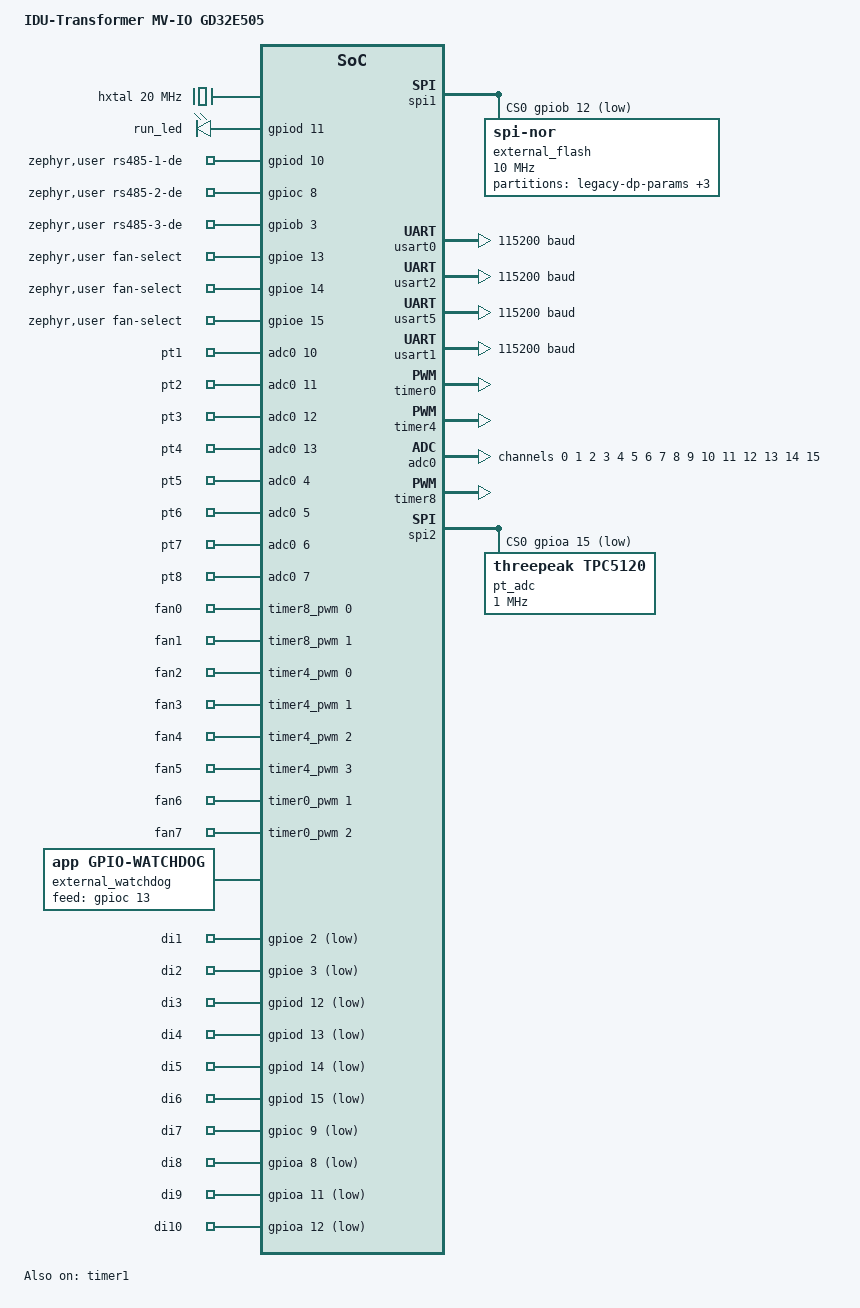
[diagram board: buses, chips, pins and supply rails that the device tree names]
#include <zephyr/dt-bindings/dma/gd32_dma.h>
/dts-v1/;

#include <mem.h>
#include <arm/gd/gd32e505.dtsi>
#include <zephyr/dt-bindings/gpio/gpio.h>
#include <zephyr/dt-bindings/adc/adc.h>
#include <zephyr/dt-bindings/pwm/pwm.h>
#include <dt-bindings/pwm/gd32e505-pwm.h>
#include <dt-bindings/pinctrl/gd32e505v(e-c)xx-pinctrl.h>

/ {
    model = "IDU-Transformer MV-IO GD32E505";
    compatible = "idu,transformer";

    hxtal: hxtal-clock {
        compatible = "fixed-clock";
        #clock-cells = <0>;
        clock-frequency = <20000000>; /* 有源振荡器接入 OSC_IN，必须启用旁路。 */
    };

    pll: pll {
        compatible = "gd,gd32e505-pll";
        #clock-cells = <0>;
        clocks = <&hxtal>;
        hxtal-bypass;
        prediv = <5>;
        mul = <45>;
        apb1-prescaler = <2>;
        apb2-prescaler = <1>;
    };

    chosen {
        zephyr,sram = &sram0;
        zephyr,flash = &flash0;
        zephyr,flash-controller = &fmc;
        zephyr,console = &usart0;
        zephyr,shell-uart = &usart0;
        zephyr,code-partition = &slot0_partition;
        iap,staging = &iap_staging;
        iap,journal = &iap_journal;
    };

    aliases {
        dp-params = &dp_params;
        led0 = &run_led;
        rs485-1 = &usart2;
        rs485-2 = &usart5;
        rs485-3 = &usart1;
        di1 = &di1;
        di2 = &di2;
        di3 = &di3;
        di4 = &di4;
        di5 = &di5;
        di6 = &di6;
        di7 = &di7;
        di8 = &di8;
        di9 = &di9;
        di10 = &di10;
    };

    leds {
        compatible = "gpio-leds";
        run_led: run-led {};
    };

    zephyr,user {
        rs485-1-de-gpios = <&gpiod 10 GPIO_ACTIVE_HIGH>;
        rs485-2-de-gpios = <&gpioc 8 GPIO_ACTIVE_HIGH>;
        rs485-3-de-gpios = <&gpiob 3 GPIO_ACTIVE_HIGH>;
        /* 风扇反馈选择线 A/B/C，逻辑位顺序为低位到高位。 */
        fan-select-gpios = <&gpioe 13 GPIO_ACTIVE_HIGH>, <&gpioe 14 GPIO_ACTIVE_HIGH>,
                           <&gpioe 15 GPIO_ACTIVE_HIGH>;
        io-channels = <&adc0 10>, <&adc0 11>, <&adc0 12>, <&adc0 13>,
                      <&adc0 4>, <&adc0 5>, <&adc0 6>, <&adc0 7>,
                      <&adc0 14>, <&adc0 15>, <&adc0 8>, <&adc0 9>,
                      <&pt_adc 0>, <&pt_adc 1>, <&pt_adc 2>, <&pt_adc 3>,
                      <&pt_adc 4>, <&pt_adc 5>, <&pt_adc 6>, <&pt_adc 7>;
        io-channel-names = "pt1", "pt2", "pt3", "pt4", "pt5", "pt6", "pt7", "pt8",
                           "pt9", "pt10", "pt11", "pt12", "pt13", "pt14", "pt15", "pt16",
                           "pt17", "pt18", "pt19", "pt20";
        pwms = <&timer8_pwm 0 PWM_HZ(10000) PWM_POLARITY_NORMAL>,
               <&timer8_pwm 1 PWM_HZ(10000) PWM_POLARITY_NORMAL>,
               <&timer4_pwm 0 PWM_HZ(10000) PWM_POLARITY_NORMAL>,
               <&timer4_pwm 1 PWM_HZ(10000) PWM_POLARITY_NORMAL>,
               <&timer4_pwm 2 PWM_HZ(10000) PWM_POLARITY_NORMAL>,
               <&timer4_pwm 3 PWM_HZ(10000) PWM_POLARITY_NORMAL>,
               <&timer0_pwm 1 PWM_HZ(10000) PWM_POLARITY_NORMAL>,
               <&timer0_pwm 2 PWM_HZ(10000) GD32_PWM_COMPLEMENTARY>,
               <&fan_capture 3 0 PWM_POLARITY_NORMAL>;
        pwm-names = "fan0", "fan1", "fan2", "fan3", "fan4", "fan5", "fan6", "fan7", "fan-feedback";

    };

};

&spi1 {
    status = "okay";
    external_flash: flash@0 {
        compatible = "jedec,spi-nor";
        reg = <0>;
        spi-max-frequency = <10000000>;
        spi-cpol;
        spi-cpha;
        size = <DT_SIZE_M(8)>; /* GD25Q64：64 Mbit / 8 MiB。 */
        partitions {
            compatible = "fixed-partitions";
            #address-cells = <1>;
            #size-cells = <1>;
            legacy_params: partition@10000 {
                label = "legacy-dp-params";
                reg = <0x10000 0x4000>;
                read-only;
            };
            /* IAPv3 结果日志；偏移与既有设备保持一致，不参与参数清空。 */
            iap_journal: partition@18000 {
                label = "idu-iap-journal";
                reg = <0x18000 0x4000>;
            };
            /* SGZ 暂存上限与 CONFIG_IAP_MAX_CONTAINER_SIZE 成对维护。 */
            dp_params: partition@1c000 {
                label = "dp-params";
                reg = <0x1c000 0x10000>;
            };
            iap_staging: partition@201000 {
                label = "idu-iap-sgz";
                reg = <0x201000 0x80000>;
            };
        };
    };
};

&flash0 {
    /* 分区地址单元由 partitions 节点定义，Flash 本身无直接寻址子节点。 */
    /delete-property/ #address-cells;
    /delete-property/ #size-cells;
    reg = <0x08000000 DT_SIZE_K(512)>;
    write-block-size = <4>; /* E505 FMC 支持按字编程。 */
    erase-block-size = <8192>; /* 参见 GD32E50x 用户手册第 2.3.1 节。 */
};
&sram0 { reg = <0x20000000 DT_SIZE_K(128)>; };
&gpioa { status = "okay"; };
&gpiob { status = "okay"; };
&gpioc { status = "okay"; };
&gpiod { status = "okay"; };
&gpioe { status = "okay"; };
&usart0 {
    status = "okay";
    current-speed = <115200>;
};
&dma0 {
    status = "okay";
};

&usart2 {
    dmas = <&dma0 1 GD32_DMA_PRIORITY_HIGH>,
           <&dma0 2 GD32_DMA_PRIORITY_HIGH>;
    dma-names = "tx", "rx";
    status = "okay";
    current-speed = <115200>;
};

&dma1 {
    status = "okay";
};

&usart5 {
    dmas = <&dma1 4 GD32_DMA_PRIORITY_HIGH>,
           <&dma1 2 GD32_DMA_PRIORITY_HIGH>;
    dma-names = "tx", "rx";
    status = "okay";
    current-speed = <115200>;
};

&usart1 {
    dmas = <&dma0 6 GD32_DMA_PRIORITY_HIGH>,
           <&dma0 5 GD32_DMA_PRIORITY_HIGH>;
    dma-names = "tx", "rx";
    status = "okay";
    current-speed = <115200>;
};

/* 原 PWM/捕获引脚在本板改作 ADC 和 DO。 */
&timer0 { status = "disabled"; };
&timer1 { status = "disabled"; };
&timer2 { status = "disabled"; };
&timer4 { status = "disabled"; };

&adc0 {
    status = "okay";
    clock-prescaler = <8>;
    vdda-millivolts = <3300>;
    pinctrl-0 = <&adc_default>;
    pinctrl-names = "default";
    channel@0 {
        reg = <0>;
        zephyr,gain = "ADC_GAIN_1";
        zephyr,reference = "ADC_REF_VDD_1";
        zephyr,acquisition-time = <ADC_ACQ_TIME_DEFAULT>;
        zephyr,resolution = <12>;
    };
    channel@1 {
        reg = <1>;
        zephyr,gain = "ADC_GAIN_1";
        zephyr,reference = "ADC_REF_VDD_1";
        zephyr,acquisition-time = <ADC_ACQ_TIME_DEFAULT>;
        zephyr,resolution = <12>;
    };
    channel@2 {
        reg = <2>;
        zephyr,gain = "ADC_GAIN_1";
        zephyr,reference = "ADC_REF_VDD_1";
        zephyr,acquisition-time = <ADC_ACQ_TIME_DEFAULT>;
        zephyr,resolution = <12>;
    };
    channel@3 {
        reg = <3>;
        zephyr,gain = "ADC_GAIN_1";
        zephyr,reference = "ADC_REF_VDD_1";
        zephyr,acquisition-time = <ADC_ACQ_TIME_DEFAULT>;
        zephyr,resolution = <12>;
    };
    channel@4 {
        reg = <4>;
        zephyr,gain = "ADC_GAIN_1";
        zephyr,reference = "ADC_REF_VDD_1";
        zephyr,acquisition-time = <ADC_ACQ_TIME_DEFAULT>;
        zephyr,resolution = <12>;
    };
    channel@5 {
        reg = <5>;
        zephyr,gain = "ADC_GAIN_1";
        zephyr,reference = "ADC_REF_VDD_1";
        zephyr,acquisition-time = <ADC_ACQ_TIME_DEFAULT>;
        zephyr,resolution = <12>;
    };
    channel@6 {
        reg = <6>;
        zephyr,gain = "ADC_GAIN_1";
        zephyr,reference = "ADC_REF_VDD_1";
        zephyr,acquisition-time = <ADC_ACQ_TIME_DEFAULT>;
        zephyr,resolution = <12>;
    };
    channel@7 {
        reg = <7>;
        zephyr,gain = "ADC_GAIN_1";
        zephyr,reference = "ADC_REF_VDD_1";
        zephyr,acquisition-time = <ADC_ACQ_TIME_DEFAULT>;
        zephyr,resolution = <12>;
    };
    channel@8 {
        reg = <8>;
        zephyr,gain = "ADC_GAIN_1";
        zephyr,reference = "ADC_REF_VDD_1";
        zephyr,acquisition-time = <ADC_ACQ_TIME_DEFAULT>;
        zephyr,resolution = <12>;
    };
    channel@9 {
        reg = <9>;
        zephyr,gain = "ADC_GAIN_1";
        zephyr,reference = "ADC_REF_VDD_1";
        zephyr,acquisition-time = <ADC_ACQ_TIME_DEFAULT>;
        zephyr,resolution = <12>;
    };
    channel@a {
        reg = <10>;
        zephyr,gain = "ADC_GAIN_1";
        zephyr,reference = "ADC_REF_VDD_1";
        zephyr,acquisition-time = <ADC_ACQ_TIME_DEFAULT>;
        zephyr,resolution = <12>;
    };
    channel@b {
        reg = <11>;
        zephyr,gain = "ADC_GAIN_1";
        zephyr,reference = "ADC_REF_VDD_1";
        zephyr,acquisition-time = <ADC_ACQ_TIME_DEFAULT>;
        zephyr,resolution = <12>;
    };
    channel@c {
        reg = <12>;
        zephyr,gain = "ADC_GAIN_1";
        zephyr,reference = "ADC_REF_VDD_1";
        zephyr,acquisition-time = <ADC_ACQ_TIME_DEFAULT>;
        zephyr,resolution = <12>;
    };
    channel@d {
        reg = <13>;
        zephyr,gain = "ADC_GAIN_1";
        zephyr,reference = "ADC_REF_VDD_1";
        zephyr,acquisition-time = <ADC_ACQ_TIME_DEFAULT>;
        zephyr,resolution = <12>;
    };
    channel@e {
        reg = <14>;
        zephyr,gain = "ADC_GAIN_1";
        zephyr,reference = "ADC_REF_VDD_1";
        zephyr,acquisition-time = <ADC_ACQ_TIME_DEFAULT>;
        zephyr,resolution = <12>;
    };
    channel@f {
        reg = <15>;
        zephyr,gain = "ADC_GAIN_1";
        zephyr,reference = "ADC_REF_VDD_1";
        zephyr,acquisition-time = <ADC_ACQ_TIME_DEFAULT>;
        zephyr,resolution = <12>;
    };
};

/* 产品镜像布局，由应用和 MCUboot 共用。 */
#include "../../../bootloader/partitions.dtsi"

/ {
    external_watchdog: external-watchdog {
        compatible = "app,gpio-watchdog";
        feed-interval-ms = <10>;
        status = "okay";
    };
};

/*
 * IDU-Transformer 板级引脚分配：
 * - 外设引脚复用和重映射；
 * - 普通 GPIO 的板级接线、有效电平和上下拉；
 * - 与具体引脚方案配套的 pinctrl、cs-gpios、de-gpios 等属性。
 */

&pinctrl {
    adc_default: adc-default {
        analog {
            pinmux = <ADC01_IN4_PA4>, <ADC01_IN5_PA5>,
                     <ADC01_IN6_PA6>, <ADC01_IN7_PA7>, <ADC01_IN8_PB0>,
                     <ADC01_IN9_PB1>, <ADC01_IN10_PC0>, <ADC01_IN11_PC1>,
                     <ADC01_IN12_PC2>, <ADC01_IN13_PC3>, <ADC01_IN14_PC4>,
                     <ADC01_IN15_PC5>;
        };
    };
    debug_uart_default: debug-uart-default {
        tx { pinmux = <USART0_TX_PA9_NORMP>; };
        rx { pinmux = <USART0_RX_PA10_NORMP>; };
    };
    rs485_uart_default: rs485-uart-default {
        tx { pinmux = <USART2_TX_PD8_FRMP>; };
        rx { pinmux = <USART2_RX_PD9_FRMP>; };
    };
    rs485_2_uart_default: rs485-2-uart-default {
        tx { pinmux = <USART5_TX_PC6>; };
        rx { pinmux = <USART5_RX_PC7>; };
    };
    rs485_3_uart_default: rs485-3-uart-default {
        tx { pinmux = <USART1_TX_PD5_RMP>; };
        rx { pinmux = <USART1_RX_PD6_RMP>; };
    };
    flash_spi_default: flash-spi-default {
        output { pinmux = <SPI1_SCK_PB13_OUT>, <SPI1_MOSI_PB15_OUT>; };
        input { pinmux = <SPI1_MISO_PB14_INP>; };
    };
};

&usart0 {
    pinctrl-0 = <&debug_uart_default>;
    pinctrl-names = "default";
};

&usart2 {
    pinctrl-0 = <&rs485_uart_default>;
    pinctrl-names = "default";
};

&usart5 {
    pinctrl-0 = <&rs485_2_uart_default>;
    pinctrl-names = "default";
};

&usart1 {
    pinctrl-0 = <&rs485_3_uart_default>;
    pinctrl-names = "default";
};

&spi1 {
    pinctrl-0 = <&flash_spi_default>;
    pinctrl-names = "default";
    cs-gpios = <&gpiob 12 GPIO_ACTIVE_LOW>;
};

&run_led {
    gpios = <&gpiod 11 GPIO_ACTIVE_HIGH>;
};

/ {
    gpio-keys {
        compatible = "gpio-keys";
        di1: di1 { gpios = <&gpioe 2 (GPIO_ACTIVE_LOW | GPIO_PULL_UP)>; };
        di2: di2 { gpios = <&gpioe 3 (GPIO_ACTIVE_LOW | GPIO_PULL_UP)>; };
        di3: di3 { gpios = <&gpiod 12 (GPIO_ACTIVE_LOW | GPIO_PULL_UP)>; };
        di4: di4 { gpios = <&gpiod 13 (GPIO_ACTIVE_LOW | GPIO_PULL_UP)>; };
        di5: di5 { gpios = <&gpiod 14 (GPIO_ACTIVE_LOW | GPIO_PULL_UP)>; };
        di6: di6 { gpios = <&gpiod 15 (GPIO_ACTIVE_LOW | GPIO_PULL_UP)>; };
        di7: di7 { gpios = <&gpioc 9 (GPIO_ACTIVE_LOW | GPIO_PULL_UP)>; };
        di8: di8 { gpios = <&gpioa 8 (GPIO_ACTIVE_LOW | GPIO_PULL_UP)>; };
        di9: di9 { gpios = <&gpioa 11 (GPIO_ACTIVE_LOW | GPIO_PULL_UP)>; };
        di10: di10 { gpios = <&gpioa 12 (GPIO_ACTIVE_LOW | GPIO_PULL_UP)>; };
    };
};

&external_watchdog {
    feed-gpios = <&gpioc 13 GPIO_ACTIVE_HIGH>;
};


&timer8 {
    status = "okay";
    prescaler = <0>;
    timer8_pwm: pwm {
        status = "okay";
        pinctrl-0 = <&fan8_default>;
        pinctrl-names = "default";
    };
};
&pinctrl {
    fan8_default: fan8-default {
        outputs { pinmux = <TIMER8_CH0_PE5_OUT_RMP>, <TIMER8_CH1_PE6_OUT_RMP>; };
    };
};

&timer4 {
    status = "okay";
    prescaler = <0>;
    timer4_pwm: pwm {
        status = "okay";
        pinctrl-0 = <&fan4_default>;
        pinctrl-names = "default";
    };
};
&pinctrl {
    fan4_default: fan4-default {
        outputs { pinmux = <TIMER4_CH0_PA0_OUT>, <TIMER4_CH1_PA1_OUT>, <TIMER4_CH2_PA2_OUT>, <TIMER4_CH3_PA3_OUT>; };
    };
};

&timer0 {
    status = "okay";
    prescaler = <0>;
    timer0_pwm: pwm {
        status = "okay";
        pinctrl-0 = <&fan0_default>;
        pinctrl-names = "default";
    };
};
&pinctrl {
    fan0_default: fan0-default {
        outputs { pinmux = <TIMER0_CH1_PE11_OUT_FRMP>, <TIMER0_CH2_ON_PE12_FRMP>; };
    };
};

/* SPI2 接 TPC5120；Mode 0，保守使用 1 MHz，量程先选 0..VREF。 */
&spi2 {
    pinctrl-0 = <&pt_spi_default>;
    pinctrl-names = "default";
    cs-gpios = <&gpioa 15 GPIO_ACTIVE_LOW>;
    status = "okay";

    pt_adc: adc@0 {
        compatible = "threepeak,tpc5120";
        reg = <0>;
        spi-max-frequency = <1000000>;
        spi-cs-setup-delay-ns = <1000>;
        spi-cs-hold-delay-ns = <1000>;
        #io-channel-cells = <1>;
        #address-cells = <1>;
        #size-cells = <0>;
        channel@0 {
            reg = <0>;
            zephyr,gain = "ADC_GAIN_1";
            zephyr,reference = "ADC_REF_EXTERNAL0";
            zephyr,acquisition-time = <ADC_ACQ_TIME_DEFAULT>;
            zephyr,resolution = <12>;
        };
        channel@1 {
            reg = <1>;
            zephyr,gain = "ADC_GAIN_1";
            zephyr,reference = "ADC_REF_EXTERNAL0";
            zephyr,acquisition-time = <ADC_ACQ_TIME_DEFAULT>;
            zephyr,resolution = <12>;
        };
        channel@2 {
            reg = <2>;
            zephyr,gain = "ADC_GAIN_1";
            zephyr,reference = "ADC_REF_EXTERNAL0";
            zephyr,acquisition-time = <ADC_ACQ_TIME_DEFAULT>;
            zephyr,resolution = <12>;
        };
        channel@3 {
            reg = <3>;
            zephyr,gain = "ADC_GAIN_1";
            zephyr,reference = "ADC_REF_EXTERNAL0";
            zephyr,acquisition-time = <ADC_ACQ_TIME_DEFAULT>;
            zephyr,resolution = <12>;
        };
        channel@4 {
            reg = <4>;
            zephyr,gain = "ADC_GAIN_1";
            zephyr,reference = "ADC_REF_EXTERNAL0";
            zephyr,acquisition-time = <ADC_ACQ_TIME_DEFAULT>;
            zephyr,resolution = <12>;
        };
        channel@5 {
            reg = <5>;
            zephyr,gain = "ADC_GAIN_1";
            zephyr,reference = "ADC_REF_EXTERNAL0";
            zephyr,acquisition-time = <ADC_ACQ_TIME_DEFAULT>;
            zephyr,resolution = <12>;
        };
        channel@6 {
            reg = <6>;
            zephyr,gain = "ADC_GAIN_1";
            zephyr,reference = "ADC_REF_EXTERNAL0";
            zephyr,acquisition-time = <ADC_ACQ_TIME_DEFAULT>;
            zephyr,resolution = <12>;
        };
        channel@7 {
            reg = <7>;
            zephyr,gain = "ADC_GAIN_1";
            zephyr,reference = "ADC_REF_EXTERNAL0";
            zephyr,acquisition-time = <ADC_ACQ_TIME_DEFAULT>;
            zephyr,resolution = <12>;
        };
    };
};
&pinctrl {
    pt_spi_default: pt-spi-default {
        output { pinmux = <SPI2_SCK_PC10_OUT_RMP>, <SPI2_MOSI_PC12_OUT_RMP>; };
        input { pinmux = <SPI2_MISO_PC11_INP_RMP>; };
    };
};

/* TIMER1 独占 PB11 CH3 捕获；PWM 输出已移至 TIMER4。 */
&timer1 {
    status = "okay";
    prescaler = <179>;
    fan_capture: capture {
        compatible = "gd,gd32-pwm-capture";
        capture-channel = <3>;
        capture-prescaler = <1>;
        #pwm-cells = <3>;
        pinctrl-0 = <&fan_capture_default>;
        pinctrl-names = "default";
        status = "okay";
    };
};
&pinctrl {
    fan_capture_default: fan-capture-default {
        input {
            pinmux = <TIMER1_CH3_PB11_INP_PRMP2>;
            bias-pull-down;
        };
    };
};
